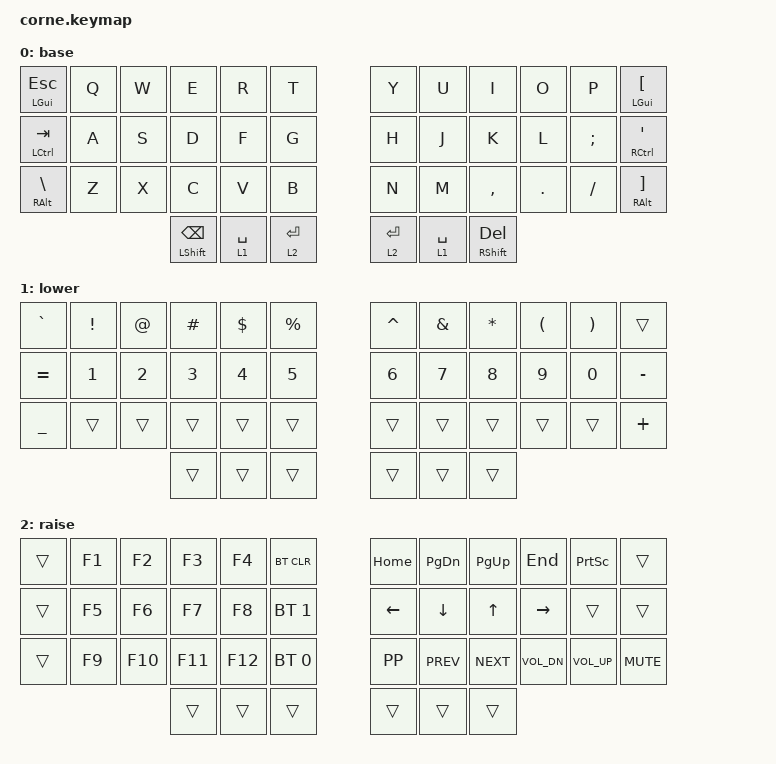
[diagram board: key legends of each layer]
/*
 * Copyright (c) 2020 The ZMK Contributors
 *
 * SPDX-License-Identifier: MIT
 */

#include <behaviors.dtsi>
#include <dt-bindings/zmk/bt.h>
#include <dt-bindings/zmk/keys.h>

// dt-formatter: indent = "  "
// dt-formatter: reindentMultilineIntegerCells = "dedent"

/ {
  behaviors {
    hm: homerow_mods {
      compatible = "zmk,behavior-hold-tap";
      label = "HOMEROW_MODS";
      #binding-cells = <2>;
      tapping-term-ms = <150>;
      quick-tap-ms = <0>;
      flavor = "tap-preferred";
      bindings = <&kp>, <&kp>;
    };
  };

  combos { compatible = "zmk,combos"; };

  keymap {
    compatible = "zmk,keymap";

    base {
      bindings = <
&mt LGUI ESC   &kp Q  &kp W  &kp E           &kp R        &kp T          &kp Y        &kp U        &kp I          &kp O    &kp P     &mt LGUI LBKT
&mt LCTRL TAB  &kp A  &kp S  &kp D           &kp F        &kp G          &kp H        &kp J        &kp K          &kp L    &kp SEMI  &mt RCTRL SQT
&mt RALT BSLH  &kp Z  &kp X  &kp C           &kp V        &kp B          &kp N        &kp M        &kp COMMA      &kp DOT  &kp FSLH  &mt RALT RBKT
                             &mt LSHFT BSPC  &lt 1 SPACE  &lt 2 ENTER    &lt 2 ENTER  &lt 1 SPACE  &mt RSHFT DEL
      >;
    };

    lower {
      bindings = <
&kp GRAVE  &kp EXCL  &kp AT  &kp HASH  &kp DOLLAR  &kp PRCNT    &kp CARET  &kp AMPS  &kp ASTRK  &kp LPAR  &kp RPAR  &trans
&kp EQUAL  &kp N1    &kp N2  &kp N3    &kp N4      &kp N5       &kp N6     &kp N7    &kp N8     &kp N9    &kp N0    &kp MINUS
&kp UNDER  &trans    &trans  &trans    &trans      &trans       &trans     &trans    &trans     &trans    &trans    &kp PLUS
                             &trans    &trans      &trans       &trans     &trans    &trans
      >;
    };

    raise {
      bindings = <
&trans  &kp F1  &kp F2   &kp F3   &kp F4   &bt BT_CLR      &kp HOME  &kp PG_DN   &kp PG_UP   &kp END       &kp PSCRN     &trans
&trans  &kp F5  &kp F6   &kp F7   &kp F8   &bt BT_SEL 1    &kp LEFT  &kp DOWN    &kp UP      &kp RIGHT     &trans        &trans
&trans  &kp F9  &kp F10  &kp F11  &kp F12  &bt BT_SEL 0    &kp K_PP  &kp K_PREV  &kp K_NEXT  &kp K_VOL_DN  &kp K_VOL_UP  &kp K_MUTE
                         &trans   &trans   &trans          &trans    &trans      &trans
      >;
    };
  };
};
